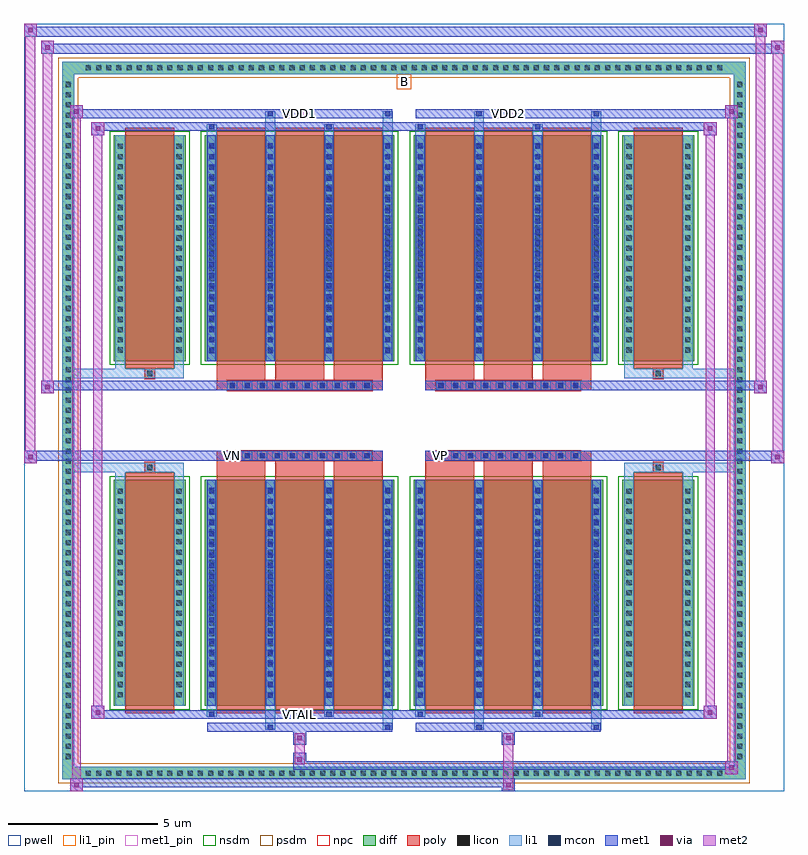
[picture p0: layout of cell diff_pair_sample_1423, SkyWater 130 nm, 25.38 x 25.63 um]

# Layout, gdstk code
import gdstk
lib = gdstk.Library(unit=1e-6, precision=5e-09)
def R(c, l, rs):  # rectangles x0, y0, x1, y1
    for r in rs: c.add(gdstk.rectangle(r[:2], r[2:], *l))
def A(c, l, x, y, w, h, nx, ny, dx, dy):  # array of equal rectangles
    R(c, l, [(x+i*dx, y+j*dy, x+i*dx+w, y+j*dy+h) for i in range(nx) for j in range(ny)])
def P(c, l, *ps):  # polygons
    for p in ps: c.add(gdstk.Polygon(p, *l))
pwell = (64, 44)
diff = (65, 20)
poly = (66, 20)
licon = (66, 44)
li1_pin = (67, 16)
li1 = (67, 20)
mcon = (67, 44)
met1_pin = (68, 16)
met1 = (68, 20)
via = (68, 44)
met2 = (69, 20)
nsdm = (93, 44)
psdm = (94, 20)
npc = (95, 20)

diff_pair_sample_1423 = lib.new_cell('diff_pair_sample_1423')
R(diff_pair_sample_1423, pwell, [(-12.69,-12.38,12.69,13.25), (-10.01,-10.57,-0.01,-0.805), (0.01,-10.57,10.01,-0.805), (-10.01,0.805,-0.01,10.57), (0.01,0.805,10.01,10.57)])
A(diff_pair_sample_1423, diff, -10.745, -11.98, 0.41, 0.41, 63, 2, 0.34, 23.55)
A(diff_pair_sample_1423, diff, -11.42, -11.425, 0.41, 0.41, 1, 67, 0, 0.34)
A(diff_pair_sample_1423, diff, 11.01, -11.425, 0.41, 0.41, 1, 67, 0, 0.34)
R(diff_pair_sample_1423, diff, [(-10.745,-11.98,10.745,-11.57), (-11.42,-11.425,-11.01,11.425), (11.01,-11.425,11.42,11.425), (-9.7,-9.525,-7.29,-1.985), (-6.65,-9.525,-0.32,-1.985), (0.32,-9.525,6.65,-1.985), (7.29,-9.525,9.7,-1.985), (-9.7,1.985,-7.29,9.525), (-6.65,1.985,-0.32,9.525), (0.32,1.985,6.65,9.525), (7.29,1.985,9.7,9.525), (-10.745,11.57,10.745,11.98)])
P(diff_pair_sample_1423, diff, [(11.42,11.98),(-11.42,11.98),(-11.42,-11.57),(-11.01,-11.57),(-11.01,11.57),(11.01,11.57),(11.01,-11.57),(-11.01,-11.57),(-11.42,-11.57),(-11.42,-11.98),(11.42,-11.98)])
A(diff_pair_sample_1423, poly, -6.26, -9.775, 1.63, 8.04, 3, 2, 1.96, 11.51)
A(diff_pair_sample_1423, poly, 0.71, -9.775, 1.63, 8.04, 3, 2, 1.96, 11.51)
A(diff_pair_sample_1423, poly, -6.26, -1.735, 1.63, 0.4, 3, 2, 1.96, 3.07)
A(diff_pair_sample_1423, poly, 0.71, -1.735, 1.63, 0.4, 3, 2, 1.96, 3.07)
A(diff_pair_sample_1423, poly, -5.9, -1.335, 0.33, 0.33, 10, 2, 0.5, 2.34)
A(diff_pair_sample_1423, poly, 1.07, -1.335, 0.33, 0.33, 10, 2, 0.5, 2.34)
R(diff_pair_sample_1423, poly, [(-9.31,-9.775,-7.68,-1.735), (7.68,-9.775,9.31,-1.735), (-8.66,-1.735,-8.33,-1.405), (-8.66,-1.735,-8.33,-1.405), (8.33,-1.735,8.66,-1.405), (8.33,-1.735,8.66,-1.405), (-6.26,-1.335,-0.71,-1.005), (0.71,-1.335,6.26,-1.005), (-6.26,1.005,-0.71,1.335), (0.71,1.005,6.26,1.335), (-8.66,1.405,-8.33,1.735), (-8.66,1.405,-8.33,1.735), (8.33,1.405,8.66,1.735), (8.33,1.405,8.66,1.735), (-9.31,1.735,-7.68,9.775), (7.68,1.735,9.31,9.775)])
A(diff_pair_sample_1423, licon, -10.625, -11.86, 0.17, 0.17, 63, 2, 0.34, 23.55)
A(diff_pair_sample_1423, licon, -11.3, -11.305, 0.17, 0.17, 1, 67, 0, 0.34)
A(diff_pair_sample_1423, licon, 11.13, -11.305, 0.17, 0.17, 1, 67, 0, 0.34)
A(diff_pair_sample_1423, licon, -9.56, -9.24, 0.17, 0.17, 1, 21, 0, 0.34)
A(diff_pair_sample_1423, licon, -7.6, -9.24, 0.17, 0.17, 1, 21, 0, 0.34)
A(diff_pair_sample_1423, licon, -6.51, -9.24, 0.17, 0.17, 4, 21, 1.96, 0.34)
A(diff_pair_sample_1423, licon, 0.46, -9.24, 0.17, 0.17, 4, 21, 1.96, 0.34)
A(diff_pair_sample_1423, licon, 7.43, -9.24, 0.17, 0.17, 1, 21, 0, 0.34)
A(diff_pair_sample_1423, licon, 9.39, -9.24, 0.17, 0.17, 1, 21, 0, 0.34)
A(diff_pair_sample_1423, licon, -5.82, -1.255, 0.17, 0.17, 10, 2, 0.5, 2.34)
A(diff_pair_sample_1423, licon, 1.15, -1.255, 0.17, 0.17, 10, 2, 0.5, 2.34)
A(diff_pair_sample_1423, licon, -9.56, 2.27, 0.17, 0.17, 1, 21, 0, 0.34)
A(diff_pair_sample_1423, licon, -7.6, 2.27, 0.17, 0.17, 1, 21, 0, 0.34)
A(diff_pair_sample_1423, licon, -6.51, 2.27, 0.17, 0.17, 4, 21, 1.96, 0.34)
A(diff_pair_sample_1423, licon, 0.46, 2.27, 0.17, 0.17, 4, 21, 1.96, 0.34)
A(diff_pair_sample_1423, licon, 7.43, 2.27, 0.17, 0.17, 1, 21, 0, 0.34)
A(diff_pair_sample_1423, licon, 9.39, 2.27, 0.17, 0.17, 1, 21, 0, 0.34)
R(diff_pair_sample_1423, licon, [(-8.58,-1.655,-8.41,-1.485), (8.41,-1.655,8.58,-1.485), (-8.58,1.485,-8.41,1.655), (8.41,1.485,8.58,1.655)])
R(diff_pair_sample_1423, li1_pin, [(-0.25,11.07,0.25,11.57)])
A(diff_pair_sample_1423, li1, -10.705, -11.94, 0.33, 0.33, 63, 2, 0.34, 23.55)
A(diff_pair_sample_1423, li1, -11.38, -11.385, 0.33, 0.33, 1, 67, 0, 0.34)
A(diff_pair_sample_1423, li1, 11.05, -11.385, 0.33, 0.33, 1, 67, 0, 0.34)
A(diff_pair_sample_1423, li1, -6.59, -9.525, 0.33, 7.54, 4, 2, 1.96, 11.51)
A(diff_pair_sample_1423, li1, 0.38, -9.525, 0.33, 7.54, 4, 2, 1.96, 11.51)
A(diff_pair_sample_1423, li1, -9.64, -9.32, 0.33, 0.33, 1, 21, 0, 0.34)
A(diff_pair_sample_1423, li1, -7.68, -9.32, 0.33, 0.33, 1, 21, 0, 0.34)
A(diff_pair_sample_1423, li1, -6.59, -9.32, 0.33, 0.33, 4, 21, 1.96, 0.34)
A(diff_pair_sample_1423, li1, 0.38, -9.32, 0.33, 0.33, 4, 21, 1.96, 0.34)
A(diff_pair_sample_1423, li1, 7.35, -9.32, 0.33, 0.33, 1, 21, 0, 0.34)
A(diff_pair_sample_1423, li1, 9.31, -9.32, 0.33, 0.33, 1, 21, 0, 0.34)
A(diff_pair_sample_1423, li1, -6.51, -9.26, 0.17, 0.17, 4, 20, 1.96, 0.36)
A(diff_pair_sample_1423, li1, -6.51, -9.26, 0.17, 7.01, 4, 2, 1.96, 11.51)
A(diff_pair_sample_1423, li1, 0.46, -9.26, 0.17, 0.17, 4, 20, 1.96, 0.36)
A(diff_pair_sample_1423, li1, 0.46, -9.26, 0.17, 7.01, 4, 2, 1.96, 11.51)
A(diff_pair_sample_1423, li1, -5.9, -1.335, 0.33, 0.33, 10, 2, 0.5, 2.34)
A(diff_pair_sample_1423, li1, 1.07, -1.335, 0.33, 0.33, 10, 2, 0.5, 2.34)
A(diff_pair_sample_1423, li1, -9.64, 2.19, 0.33, 0.33, 1, 21, 0, 0.34)
A(diff_pair_sample_1423, li1, -7.68, 2.19, 0.33, 0.33, 1, 21, 0, 0.34)
A(diff_pair_sample_1423, li1, -6.59, 2.19, 0.33, 0.33, 4, 21, 1.96, 0.34)
A(diff_pair_sample_1423, li1, 0.38, 2.19, 0.33, 0.33, 4, 21, 1.96, 0.34)
A(diff_pair_sample_1423, li1, 7.35, 2.19, 0.33, 0.33, 1, 21, 0, 0.34)
A(diff_pair_sample_1423, li1, 9.31, 2.19, 0.33, 0.33, 1, 21, 0, 0.34)
A(diff_pair_sample_1423, li1, -6.51, 2.25, 0.17, 0.17, 4, 20, 1.96, 0.36)
A(diff_pair_sample_1423, li1, 0.46, 2.25, 0.17, 0.17, 4, 20, 1.96, 0.36)
R(diff_pair_sample_1423, li1, [(-11.42,-11.98,-11.01,-11.57), (-11.42,-11.98,-11.01,-11.57), (-11.01,-11.98,11.01,-11.57), (11.01,-11.98,11.42,-11.57), (11.01,-11.98,11.42,-11.57), (-11.42,-11.57,-11.01,11.57), (11.01,-11.57,11.42,11.57), (-4.63,-10.33,-4.3,-9.525), (-4.55,-10.33,-4.38,-10.16), (-0.71,-10.33,-0.38,-9.525), (-0.63,-10.33,-0.46,-10.16), (2.34,-10.33,2.67,-9.525), (2.42,-10.33,2.59,-10.16), (6.26,-10.33,6.59,-9.525), (6.34,-10.33,6.51,-10.16), (-6.59,-9.9,-6.26,-9.525), (-6.51,-9.9,-6.34,-9.73), (-2.67,-9.9,-2.34,-9.525), (-2.59,-9.9,-2.42,-9.73), (0.38,-9.9,0.71,-9.525), (0.46,-9.9,0.63,-9.73), (4.3,-9.9,4.63,-9.525), (4.38,-9.9,4.55,-9.73), (-9.64,-9.525,-9.31,-1.985), (-7.68,-9.525,-7.35,-1.985), (7.35,-9.525,7.68,-1.985), (9.31,-9.525,9.64,-1.985), (-9.64,-1.985,-9.31,-1.405), (-7.68,-1.985,-7.35,-1.405), (7.35,-1.985,7.68,-1.405), (9.31,-1.985,9.64,-1.405), (-11.42,-1.735,-8.66,-1.405), (-9.64,-1.735,-8.66,-1.405), (-8.66,-1.735,-8.33,-1.405), (-8.33,-1.735,-7.35,-1.405), (7.35,-1.735,8.33,-1.405), (8.33,-1.735,8.66,-1.405), (8.33,-1.735,11.42,-1.405), (8.66,-1.735,9.64,-1.405), (-11.42,1.405,-8.66,1.735), (-9.64,1.405,-8.66,1.735), (-9.64,1.405,-9.31,1.985), (-8.66,1.405,-8.33,1.735), (-8.33,1.405,-7.35,1.735), (-7.68,1.405,-7.35,1.985), (7.35,1.405,8.33,1.735), (7.35,1.405,7.68,1.985), (8.33,1.405,8.66,1.735), (8.33,1.405,11.42,1.735), (8.66,1.405,9.64,1.735), (9.31,1.405,9.64,1.985), (-9.64,1.985,-9.31,9.525), (-7.68,1.985,-7.35,9.525), (7.35,1.985,7.68,9.525), (9.31,1.985,9.64,9.525), (-6.59,9.525,-6.26,9.9), (-4.63,9.525,-4.3,10.33), (-2.67,9.525,-2.34,9.9), (-0.71,9.525,-0.38,10.33), (0.38,9.525,0.71,9.9), (2.34,9.525,2.67,10.33), (4.3,9.525,4.63,9.9), (6.26,9.525,6.59,10.33), (-6.51,9.73,-6.34,9.9), (-2.59,9.73,-2.42,9.9), (0.46,9.73,0.63,9.9), (4.38,9.73,4.55,9.9), (-4.55,10.16,-4.38,10.33), (-0.63,10.16,-0.46,10.33), (2.42,10.16,2.59,10.33), (6.34,10.16,6.51,10.33), (-11.42,11.57,-11.01,11.98), (-11.42,11.57,-11.01,11.98), (-11.01,11.57,11.01,11.98), (11.01,11.57,11.42,11.98), (11.01,11.57,11.42,11.98)])
A(diff_pair_sample_1423, mcon, -6.51, -9.26, 0.17, 0.17, 4, 20, 1.96, 0.36)
A(diff_pair_sample_1423, mcon, 0.46, -9.26, 0.17, 0.17, 4, 20, 1.96, 0.36)
A(diff_pair_sample_1423, mcon, -5.82, -1.255, 0.17, 0.17, 10, 2, 0.5, 2.34)
A(diff_pair_sample_1423, mcon, 1.15, -1.255, 0.17, 0.17, 10, 2, 0.5, 2.34)
A(diff_pair_sample_1423, mcon, -6.51, 2.25, 0.17, 0.17, 4, 20, 1.96, 0.36)
A(diff_pair_sample_1423, mcon, 0.46, 2.25, 0.17, 0.17, 4, 20, 1.96, 0.36)
R(diff_pair_sample_1423, mcon, [(-4.55,-10.33,-4.38,-10.16), (-0.63,-10.33,-0.46,-10.16), (2.42,-10.33,2.59,-10.16), (6.34,-10.33,6.51,-10.16), (-6.51,-9.9,-6.34,-9.73), (-2.59,-9.9,-2.42,-9.73), (0.46,-9.9,0.63,-9.73), (4.38,-9.9,4.55,-9.73), (-6.51,9.73,-6.34,9.9), (-2.59,9.73,-2.42,9.9), (0.46,9.73,0.63,9.9), (4.38,9.73,4.55,9.9), (-4.55,10.16,-4.38,10.33), (-0.63,10.16,-0.46,10.33), (2.42,10.16,2.59,10.33), (6.34,10.16,6.51,10.33)])
R(diff_pair_sample_1423, met1_pin, [(-3.62,-9.94,-3.35,-9.67), (-5.87,-1.295,-5.6,-1.025), (1.1,-1.295,1.37,-1.025), (-3.62,10.12,-3.35,10.39), (3.35,10.12,3.62,10.39)])
A(diff_pair_sample_1423, met1, -6.57, -9.525, 0.29, 7.54, 4, 2, 1.96, 11.51)
A(diff_pair_sample_1423, met1, 0.4, -9.525, 0.29, 7.54, 4, 2, 1.96, 11.51)
A(diff_pair_sample_1423, met1, -6.57, -9.32, 0.29, 0.29, 4, 20, 1.96, 0.36)
A(diff_pair_sample_1423, met1, 0.4, -9.32, 0.29, 0.29, 4, 20, 1.96, 0.36)
A(diff_pair_sample_1423, met1, -5.88, -1.315, 0.29, 0.29, 10, 2, 0.5, 2.34)
A(diff_pair_sample_1423, met1, 1.09, -1.315, 0.29, 0.29, 10, 2, 0.5, 2.34)
A(diff_pair_sample_1423, met1, -6.57, 2.19, 0.29, 0.29, 4, 20, 1.96, 0.36)
A(diff_pair_sample_1423, met1, 0.4, 2.19, 0.29, 0.29, 4, 20, 1.96, 0.36)
R(diff_pair_sample_1423, met1, [(-11.15,-12.38,-10.72,-11.95), (3.27,-12.38,3.7,-11.95), (-11.15,-12.24,3.7,-11.95), (10.72,-11.81,11.15,-11.38), (-3.7,-11.67,11.15,-11.38), (-3.7,-11.53,-3.27,-11.1), (-3.7,-10.82,-3.27,-10.39), (3.27,-10.82,3.7,-10.39), (-6.57,-10.39,-0.4,-10.1), (-4.61,-10.39,-4.32,-10.1), (-0.69,-10.39,-0.4,-10.1), (0.4,-10.39,6.57,-10.1), (2.36,-10.39,2.65,-10.1), (6.28,-10.39,6.57,-10.1), (-10.44,-9.96,-10.01,-9.53), (-10.44,-9.96,-6.57,-9.67), (-6.57,-9.96,-6.28,-9.67), (-6.57,-9.96,-0.4,-9.67), (-2.65,-9.96,-2.36,-9.67), (-0.4,-9.96,0.4,-9.67), (0.4,-9.96,0.69,-9.67), (0.4,-9.96,6.57,-9.67), (4.32,-9.96,4.61,-9.67), (6.57,-9.96,10.44,-9.67), (10.01,-9.96,10.44,-9.53), (-12.69,-1.435,-12.26,-1.005), (12.26,-1.435,12.69,-1.005), (-12.69,-1.335,-0.71,-1.005), (-6.26,-1.335,-0.71,-1.005), (0.71,-1.335,6.26,-1.005), (0.71,-1.335,12.69,-1.005), (-12.12,0.905,-11.69,1.335), (11.69,0.905,12.12,1.335), (-12.12,1.005,-6.26,1.335), (-6.26,1.005,-0.71,1.335), (0.71,1.005,6.26,1.335), (6.26,1.005,12.12,1.335), (-10.44,9.53,-10.01,9.96), (10.01,9.53,10.44,9.96), (-10.44,9.67,-6.57,9.96), (-6.57,9.67,-6.28,9.96), (-6.57,9.67,-0.4,9.96), (-2.65,9.67,-2.36,9.96), (-0.4,9.67,0.4,9.96), (0.4,9.67,0.69,9.96), (0.4,9.67,6.57,9.96), (4.32,9.67,4.61,9.96), (6.57,9.67,10.44,9.96), (-11.15,10.1,-10.72,10.53), (-11.15,10.1,-6.57,10.39), (-6.57,10.1,-0.4,10.39), (-4.61,10.1,-4.32,10.39), (-0.69,10.1,-0.4,10.39), (0.4,10.1,6.57,10.39), (2.36,10.1,2.65,10.39), (6.28,10.1,6.57,10.39), (6.57,10.1,11.15,10.39), (10.72,10.1,11.15,10.53), (-12.12,12.25,-11.69,12.68), (-12.12,12.25,-10.01,12.58), (-10.01,12.25,10.01,12.58), (10.01,12.25,12.69,12.58), (12.26,12.25,12.69,12.68), (-12.69,12.82,-12.26,13.25), (-12.69,12.82,-10.01,13.15), (-10.01,12.82,10.01,13.15), (10.01,12.82,12.12,13.15), (11.69,12.82,12.12,13.25)])
R(diff_pair_sample_1423, via, [(-11.01,-12.24,-10.86,-12.09), (3.41,-12.24,3.56,-12.09), (10.86,-11.67,11.01,-11.52), (-3.56,-11.39,-3.41,-11.24), (-3.56,-10.68,-3.41,-10.53), (3.41,-10.68,3.56,-10.53), (-10.3,-9.82,-10.15,-9.67), (10.15,-9.82,10.3,-9.67), (-12.55,-1.295,-12.4,-1.145), (12.4,-1.295,12.55,-1.145), (-11.98,1.045,-11.83,1.195), (11.83,1.045,11.98,1.195), (-10.3,9.67,-10.15,9.82), (10.15,9.67,10.3,9.82), (-11.01,10.24,-10.86,10.39), (10.86,10.24,11.01,10.39), (-11.98,12.39,-11.83,12.54), (12.4,12.39,12.55,12.54), (-12.55,12.96,-12.4,13.11), (11.83,12.96,11.98,13.11)])
R(diff_pair_sample_1423, met2, [(-11.15,-12.38,-10.72,-11.95), (-11.08,-12.38,-10.79,10.53), (-10.79,-12.38,-10.72,-11.95), (-11.1,-12.33,-10.77,-12), (3.32,-12.33,3.65,-12), (3.32,-12,3.65,-10.77), (10.72,-11.81,11.15,-11.38), (10.79,-11.81,11.08,10.53), (11.08,-11.81,11.15,-11.38), (10.77,-11.76,11.1,-11.43), (-3.65,-11.48,-3.32,-11.15), (-3.65,-11.15,-3.32,-10.77), (-3.65,-10.77,-3.32,-10.44), (3.32,-10.77,3.65,-10.44), (-10.44,-9.96,-10.01,-9.53), (-10.37,-9.96,-10.08,9.96), (-10.08,-9.96,-10.01,-9.53), (10.01,-9.96,10.44,-9.53), (10.08,-9.96,10.37,9.96), (10.37,-9.96,10.44,-9.53), (-10.39,-9.91,-10.06,-9.58), (10.06,-9.91,10.39,-9.58), (-12.69,-1.435,-12.26,-1.005), (-12.64,-1.435,-12.31,13.25), (-12.31,-1.435,-12.26,-1.005), (12.26,-1.435,12.69,-1.005), (12.31,-1.435,12.64,12.68), (12.64,-1.435,12.69,-1.005), (-12.64,-1.385,-12.31,-1.055), (12.31,-1.385,12.64,-1.055), (-12.12,0.905,-11.69,1.335), (-12.07,0.905,-11.74,12.68), (-11.74,0.905,-11.69,1.335), (11.69,0.905,12.12,1.335), (11.74,0.905,12.07,13.25), (12.07,0.905,12.12,1.335), (-12.07,0.955,-11.74,1.285), (11.74,0.955,12.07,1.285), (-10.44,9.53,-10.01,9.96), (-10.08,9.53,-10.01,9.96), (10.01,9.53,10.44,9.96), (10.37,9.53,10.44,9.96), (-10.39,9.58,-10.06,9.91), (10.06,9.58,10.39,9.91), (-11.15,10.1,-10.72,10.53), (-10.79,10.1,-10.72,10.53), (10.72,10.1,11.15,10.53), (11.08,10.1,11.15,10.53), (-11.1,10.15,-10.77,10.48), (10.77,10.15,11.1,10.48), (-12.12,12.25,-11.69,12.68), (-11.74,12.25,-11.69,12.68), (12.26,12.25,12.69,12.68), (12.64,12.25,12.69,12.68), (-12.07,12.3,-11.74,12.63), (12.31,12.3,12.64,12.63), (-12.69,12.82,-12.26,13.25), (-12.31,12.82,-12.26,13.25), (11.69,12.82,12.12,13.25), (12.07,12.82,12.12,13.25), (-12.64,12.87,-12.31,13.2), (11.74,12.87,12.07,13.2)])
R(diff_pair_sample_1423, nsdm, [(-9.83,-9.655,-7.16,-1.855), (-6.78,-9.655,-0.19,-1.855), (0.19,-9.655,6.78,-1.855), (7.16,-9.655,9.83,-1.855), (-9.83,1.855,-7.16,9.655), (-6.78,1.855,-0.19,9.655), (0.19,1.855,6.78,9.655), (7.16,1.855,9.83,9.655)])
P(diff_pair_sample_1423, psdm, [(11.55,12.11),(-11.55,12.11),(-11.55,-11.44),(-10.88,-11.44),(-10.88,11.44),(10.88,11.44),(10.88,-11.44),(-10.88,-11.44),(-11.55,-11.44),(-11.55,-12.11),(11.55,-12.11)])
A(diff_pair_sample_1423, npc, -5.92, -1.355, 0.37, 0.37, 10, 2, 0.5, 2.34)
A(diff_pair_sample_1423, npc, 1.05, -1.355, 0.37, 0.37, 10, 2, 0.5, 2.34)
R(diff_pair_sample_1423, npc, [(-8.68,-1.755,-8.31,-1.385), (8.31,-1.755,8.68,-1.385), (-5.92,-1.355,-5.05,-0.985), (-5.92,-1.355,-5.05,-0.985), (-5.42,-1.355,-4.55,-0.985), (-5.42,-1.355,-4.55,-0.985), (-4.92,-1.355,-4.05,-0.985), (-4.92,-1.355,-4.05,-0.985), (-4.42,-1.355,-3.55,-0.985), (-4.42,-1.355,-3.55,-0.985), (-3.92,-1.355,-3.05,-0.985), (-3.92,-1.355,-3.05,-0.985), (-3.42,-1.355,-2.55,-0.985), (-3.42,-1.355,-2.55,-0.985), (-2.92,-1.355,-2.05,-0.985), (-2.92,-1.355,-2.05,-0.985), (-2.42,-1.355,-1.55,-0.985), (-2.42,-1.355,-1.55,-0.985), (-1.92,-1.355,-1.05,-0.985), (-1.92,-1.355,-1.05,-0.985), (1.05,-1.355,1.92,-0.985), (1.05,-1.355,1.92,-0.985), (1.55,-1.355,2.42,-0.985), (1.55,-1.355,2.42,-0.985), (2.05,-1.355,2.92,-0.985), (2.05,-1.355,2.92,-0.985), (2.55,-1.355,3.42,-0.985), (2.55,-1.355,3.42,-0.985), (3.05,-1.355,3.92,-0.985), (3.05,-1.355,3.92,-0.985), (3.55,-1.355,4.42,-0.985), (3.55,-1.355,4.42,-0.985), (4.05,-1.355,4.92,-0.985), (4.05,-1.355,4.92,-0.985), (4.55,-1.355,5.42,-0.985), (4.55,-1.355,5.42,-0.985), (5.05,-1.355,5.92,-0.985), (5.05,-1.355,5.92,-0.985), (-5.92,0.985,-5.05,1.355), (-5.92,0.985,-5.05,1.355), (-5.42,0.985,-4.55,1.355), (-5.42,0.985,-4.55,1.355), (-4.92,0.985,-4.05,1.355), (-4.92,0.985,-4.05,1.355), (-4.42,0.985,-3.55,1.355), (-4.42,0.985,-3.55,1.355), (-3.92,0.985,-3.05,1.355), (-3.92,0.985,-3.05,1.355), (-3.42,0.985,-2.55,1.355), (-3.42,0.985,-2.55,1.355), (-2.92,0.985,-2.05,1.355), (-2.92,0.985,-2.05,1.355), (-2.42,0.985,-1.55,1.355), (-2.42,0.985,-1.55,1.355), (-1.92,0.985,-1.05,1.355), (-1.92,0.985,-1.05,1.355), (1.05,0.985,1.92,1.355), (1.05,0.985,1.92,1.355), (1.55,0.985,2.42,1.355), (1.55,0.985,2.42,1.355), (2.05,0.985,2.92,1.355), (2.05,0.985,2.92,1.355), (2.55,0.985,3.42,1.355), (2.55,0.985,3.42,1.355), (3.05,0.985,3.92,1.355), (3.05,0.985,3.92,1.355), (3.55,0.985,4.42,1.355), (3.55,0.985,4.42,1.355), (4.05,0.985,4.92,1.355), (4.05,0.985,4.92,1.355), (4.55,0.985,5.42,1.355), (4.55,0.985,5.42,1.355), (5.05,0.985,5.92,1.355), (5.05,0.985,5.92,1.355), (-8.68,1.385,-8.31,1.755), (8.31,1.385,8.68,1.755)])
diff_pair_sample_1423.add(gdstk.Label('VTAIL', (-3.485,-9.805), layer=68, texttype=5))
diff_pair_sample_1423.add(gdstk.Label('VN', (-5.735,-1.16), layer=68, texttype=5))
diff_pair_sample_1423.add(gdstk.Label('VP', (1.235,-1.16), layer=68, texttype=5))
diff_pair_sample_1423.add(gdstk.Label('B', (0,11.32), layer=67, texttype=5))
diff_pair_sample_1423.add(gdstk.Label('VDD2', (3.485,10.255), layer=68, texttype=5))
diff_pair_sample_1423.add(gdstk.Label('VDD1', (-3.485,10.255), layer=68, texttype=5))

lib.write_gds('diff_pair_sample_1423.gds')
